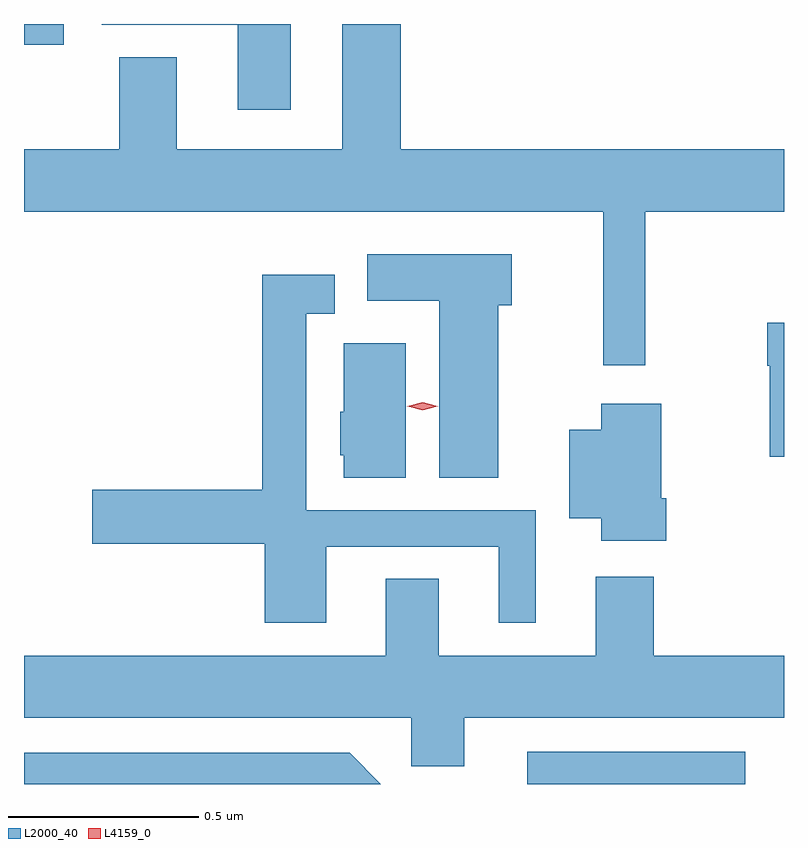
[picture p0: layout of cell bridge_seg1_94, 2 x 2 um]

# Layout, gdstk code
import gdstk
lib = gdstk.Library(unit=1e-6, precision=1e-09)
def R(c, l, rs):  # rectangles x0, y0, x1, y1
    for r in rs: c.add(gdstk.rectangle(r[:2], r[2:], *l))
def P(c, l, *ps):  # polygons
    for p in ps: c.add(gdstk.Polygon(p, *l))
L2000_40 = (2000, 40)
L4159_0 = (4159, 0)

bridge_seg1_94 = lib.new_cell('bridge_seg1_94')
R(bridge_seg1_94, L2000_40, [(306.563,574.202,307.137,574.287), (305.239,576.147,305.344,576.202)])
P(bridge_seg1_94, L2000_40, [(305.941,576.202),(305.444,576.202),(305.444,576.2),(305.801,576.2),(305.801,575.976),(305.941,575.976)],
  [(306.874,575.708),(307.239,575.708),(307.239,575.872),(306.23,575.872),(306.23,576.202),(306.077,576.202),(306.077,575.872),(305.641,575.872),(305.641,576.115),(305.489,576.115),(305.489,575.872),(305.239,575.872),(305.239,575.708),(306.763,575.708),(306.763,575.304),(306.874,575.304)],
  [(306.487,575.462),(306.523,575.462),(306.523,575.596),(306.142,575.596),(306.142,575.474),(306.332,575.474),(306.332,575.008),(306.487,575.008)],
  [(306.034,574.827),(306.488,574.827),(306.488,574.626),(306.586,574.626),(306.586,574.923),(305.982,574.923),(305.982,575.44),(306.057,575.44),(306.057,575.542),(305.866,575.542),(305.866,574.976),(305.418,574.976),(305.418,574.834),(305.873,574.834),(305.873,574.626),(306.034,574.626)],
  [(307.239,575.416),(307.195,575.416),(307.195,575.303),(307.202,575.303),(307.202,575.063),(307.239,575.063)],
  [(306.244,575.362),(306.08,575.362),(306.08,575.181),(306.071,575.181),(306.071,575.067),(306.08,575.067),(306.08,575.008),(306.244,575.008)],
  [(306.929,574.954),(306.916,574.954),(306.916,575.203),(306.758,575.203),(306.758,575.134),(306.674,575.134),(306.674,574.901),(306.758,574.901),(306.758,574.842),(306.929,574.842)],
  [(306.397,574.376),(307.239,574.376),(307.239,574.54),(306.896,574.54),(306.896,574.747),(306.743,574.747),(306.743,574.54),(306.331,574.54),(306.331,574.742),(306.191,574.742),(306.191,574.54),(305.239,574.54),(305.239,574.376),(306.258,574.376),(306.258,574.249),(306.397,574.249)],
  [(306.096,574.284),(305.239,574.284),(305.239,574.202),(306.178,574.202)])
P(bridge_seg1_94, L4159_0, [(306.288,575.186),(306.248,575.196),(306.248,575.196),(306.248,575.196),(306.288,575.206),(306.328,575.196),(306.328,575.196),(306.328,575.196)])

lib.write_gds('bridge_seg1_94.gds')
